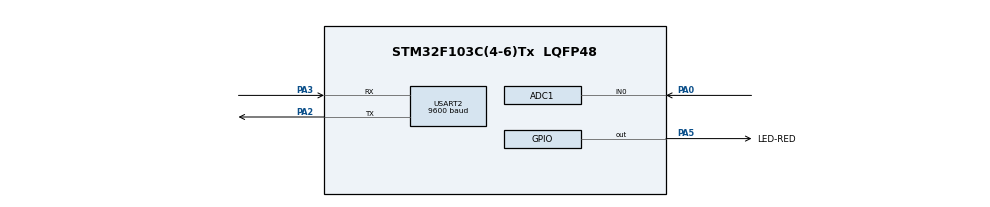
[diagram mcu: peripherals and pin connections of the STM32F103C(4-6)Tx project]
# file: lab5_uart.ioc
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ADC1.Channel-0\#ChannelRegularConversion=ADC_CHANNEL_0
ADC1.ContinuousConvMode=ENABLE
ADC1.NbrOfConversionFlag=1
ADC1.Rank-0\#ChannelRegularConversion=1
ADC1.SamplingTime-0\#ChannelRegularConversion=ADC_SAMPLETIME_1CYCLE_5
ADC1.master=1
Mcu.Family=STM32F1
Mcu.Name=STM32F103C(4-6)Tx
Mcu.Package=LQFP48
NVIC.PriorityGroup=NVIC_PRIORITYGROUP_4
NVIC.TIM2_IRQn=true\:0\:0\:false\:false\:true\:true\:true
NVIC.USART2_IRQn=true\:0\:0\:false\:false\:true\:true\:true
PA0-WKUP.Signal=ADCx_IN0
PA2.Mode=Asynchronous
PA2.Signal=USART2_TX
PA3.Mode=Asynchronous
PA3.Signal=USART2_RX
PA5.GPIO_Label=LED-RED
PA5.Signal=GPIO_Output
ProjectManager.HeapSize=0x200
ProjectManager.StackSize=0x400
ProjectManager.TargetToolchain=STM32CubeIDE
RCC.APB1Freq_Value=8000000
RCC.APB2Freq_Value=8000000
SH.ADCx_IN0.0=ADC1_IN0,IN0
TIM2.Period=9999
TIM2.Prescaler=7
USART2.BaudRate=9600
USART2.VirtualMode=VM_ASYNC
VP_SYS_VS_ND.Mode=No_Debug
VP_TIM2_VS_ClockSourceINT.Mode=Internal
board=custom

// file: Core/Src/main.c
/* USER CODE BEGIN Header */
/**
  ******************************************************************************
  * @file           : main.c
  * @brief          : Main program body
  ******************************************************************************
  * @attention
  *
  * <h2><center>&copy; Copyright (c) 2022 STMicroelectronics.
  * All rights reserved.</center></h2>
  *
  * This software component is licensed by ST under BSD 3-Clause license,
  * the "License"; You may not use this file except in compliance with the
  * License. You may obtain a copy of the License at:
  *                        opensource.org/licenses/BSD-3-Clause
  *
  ******************************************************************************
  */
/* USER CODE END Header */
#include "main.h"

/* USER CODE BEGIN Includes */
#include <stdio.h>
#include "command_parser_fsm.h"
#include "uart_communiation_fsm.h"
#include "global.h"
#include "software_timer.h"
/* USER CODE END Includes */

ADC_HandleTypeDef hadc1;

TIM_HandleTypeDef htim2;

UART_HandleTypeDef huart2;

void SystemClock_Config(void);
static void MX_GPIO_Init(void);
static void MX_USART2_UART_Init(void);
static void MX_ADC1_Init(void);
static void MX_TIM2_Init(void);

/* USER CODE BEGIN 0 */

void HAL_UART_RxCpltCallback(UART_HandleTypeDef * huart){
	if(huart -> Instance == USART2){
//		HAL_UART_Transmit(&huart2 , &temp, 1, 50);
		buffer[index_buffer++] = temp;
		if(index_buffer == MAX_BUFFER_SIZE) index_buffer = 0;
		buffer_flag = 1;
		HAL_UART_Receive_IT(&huart2 , &temp, 1);
	}
}
/* USER CODE END 0 */

int main(void)
{

  /* MCU Configuration--------------------------------------------------------*/

  /* Reset of all peripherals, Initializes the Flash interface and the Systick. */
  HAL_Init();

  /* Configure the system clock */
  SystemClock_Config();

  /* Initialize all configured peripherals */
  MX_GPIO_Init();
  MX_USART2_UART_Init();
  MX_ADC1_Init();
  MX_TIM2_Init();
  /* USER CODE BEGIN 2 */
  HAL_ADC_Start(&hadc1);
  HAL_TIM_Base_Start_IT(&htim2);
  /* USER CODE END 2 */

  /* Infinite loop */
  /* USER CODE BEGIN WHILE */
  HAL_UART_Receive_IT (&huart2, &temp, 1);
  uint8_t str[30];
  while (1)
  {
    /* USER CODE END WHILE */

    /* USER CODE BEGIN 3 */
//	  ADC_value = HAL_ADC_GetValue(&hadc1);

//	  HAL_GPIO_TogglePin(LED_RED_GPIO_Port, LED_RED_Pin);
//	  HAL_UART_Transmit(&huart2, str, sprintf(str, "%s","!1:T:29.5#"), 1000);
//	  HAL_UART_Transmit(&huart2, str, sprintf(str, "%d\n", ADC_value), 1000);

	  if(buffer_flag == 1){
		  command_parser_fsm();
		  buffer_flag = 0;
	  }
	  uart_communication_fsm();
  }
  /* USER CODE END 3 */
}

void SystemClock_Config(void)
{
  RCC_OscInitTypeDef RCC_OscInitStruct = {0};
  RCC_ClkInitTypeDef RCC_ClkInitStruct = {0};
  RCC_PeriphCLKInitTypeDef PeriphClkInit = {0};

  /** Initializes the RCC Oscillators according to the specified parameters
  * in the RCC_OscInitTypeDef structure.
  */
  RCC_OscInitStruct.OscillatorType = RCC_OSCILLATORTYPE_HSI;
  RCC_OscInitStruct.HSIState = RCC_HSI_ON;
  RCC_OscInitStruct.HSICalibrationValue = RCC_HSICALIBRATION_DEFAULT;
  RCC_OscInitStruct.PLL.PLLState = RCC_PLL_NONE;
  if (HAL_RCC_OscConfig(&RCC_OscInitStruct) != HAL_OK)
  {
    Error_Handler();
  }
  /** Initializes the CPU, AHB and APB buses clocks
  */
  RCC_ClkInitStruct.ClockType = RCC_CLOCKTYPE_HCLK|RCC_CLOCKTYPE_SYSCLK
                              |RCC_CLOCKTYPE_PCLK1|RCC_CLOCKTYPE_PCLK2;
  RCC_ClkInitStruct.SYSCLKSource = RCC_SYSCLKSOURCE_HSI;
  RCC_ClkInitStruct.AHBCLKDivider = RCC_SYSCLK_DIV1;
  RCC_ClkInitStruct.APB1CLKDivider = RCC_HCLK_DIV1;
  RCC_ClkInitStruct.APB2CLKDivider = RCC_HCLK_DIV1;

  if (HAL_RCC_ClockConfig(&RCC_ClkInitStruct, FLASH_LATENCY_0) != HAL_OK)
  {
    Error_Handler();
  }
  PeriphClkInit.PeriphClockSelection = RCC_PERIPHCLK_ADC;
  PeriphClkInit.AdcClockSelection = RCC_ADCPCLK2_DIV2;
  if (HAL_RCCEx_PeriphCLKConfig(&PeriphClkInit) != HAL_OK)
  {
    Error_Handler();
  }
}

static void MX_ADC1_Init(void)
{

  ADC_ChannelConfTypeDef sConfig = {0};

  /** Common config
  */
  hadc1.Instance = ADC1;
  hadc1.Init.ScanConvMode = ADC_SCAN_DISABLE;
  hadc1.Init.ContinuousConvMode = ENABLE;
  hadc1.Init.DiscontinuousConvMode = DISABLE;
  hadc1.Init.ExternalTrigConv = ADC_SOFTWARE_START;
  hadc1.Init.DataAlign = ADC_DATAALIGN_RIGHT;
  hadc1.Init.NbrOfConversion = 1;
  if (HAL_ADC_Init(&hadc1) != HAL_OK)
  {
    Error_Handler();
  }
  /** Configure Regular Channel
  */
  sConfig.Channel = ADC_CHANNEL_0;
  sConfig.Rank = ADC_REGULAR_RANK_1;
  sConfig.SamplingTime = ADC_SAMPLETIME_1CYCLE_5;
  if (HAL_ADC_ConfigChannel(&hadc1, &sConfig) != HAL_OK)
  {
    Error_Handler();
  }

}

static void MX_TIM2_Init(void)
{

  TIM_ClockConfigTypeDef sClockSourceConfig = {0};
  TIM_MasterConfigTypeDef sMasterConfig = {0};

  htim2.Instance = TIM2;
  htim2.Init.Prescaler = 7;
  htim2.Init.CounterMode = TIM_COUNTERMODE_UP;
  htim2.Init.Period = 9999;
  htim2.Init.ClockDivision = TIM_CLOCKDIVISION_DIV1;
  htim2.Init.AutoReloadPreload = TIM_AUTORELOAD_PRELOAD_DISABLE;
  if (HAL_TIM_Base_Init(&htim2) != HAL_OK)
  {
    Error_Handler();
  }
  sClockSourceConfig.ClockSource = TIM_CLOCKSOURCE_INTERNAL;
  if (HAL_TIM_ConfigClockSource(&htim2, &sClockSourceConfig) != HAL_OK)
  {
    Error_Handler();
  }
  sMasterConfig.MasterOutputTrigger = TIM_TRGO_RESET;
  sMasterConfig.MasterSlaveMode = TIM_MASTERSLAVEMODE_DISABLE;
  if (HAL_TIMEx_MasterConfigSynchronization(&htim2, &sMasterConfig) != HAL_OK)
  {
    Error_Handler();
  }

}

static void MX_USART2_UART_Init(void)
{

  huart2.Instance = USART2;
  huart2.Init.BaudRate = 9600;
  huart2.Init.WordLength = UART_WORDLENGTH_8B;
  huart2.Init.StopBits = UART_STOPBITS_1;
  huart2.Init.Parity = UART_PARITY_NONE;
  huart2.Init.Mode = UART_MODE_TX_RX;
  huart2.Init.HwFlowCtl = UART_HWCONTROL_NONE;
  huart2.Init.OverSampling = UART_OVERSAMPLING_16;
  if (HAL_UART_Init(&huart2) != HAL_OK)
  {
    Error_Handler();
  }

}

static void MX_GPIO_Init(void)
{
  GPIO_InitTypeDef GPIO_InitStruct = {0};

  /* GPIO Ports Clock Enable */
  __HAL_RCC_GPIOA_CLK_ENABLE();

  /*Configure GPIO pin Output Level */
  HAL_GPIO_WritePin(LED_RED_GPIO_Port, LED_RED_Pin, GPIO_PIN_RESET);

  /*Configure GPIO pin : LED_RED_Pin */
  GPIO_InitStruct.Pin = LED_RED_Pin;
  GPIO_InitStruct.Mode = GPIO_MODE_OUTPUT_PP;
  GPIO_InitStruct.Pull = GPIO_NOPULL;
  GPIO_InitStruct.Speed = GPIO_SPEED_FREQ_LOW;
  HAL_GPIO_Init(LED_RED_GPIO_Port, &GPIO_InitStruct);

}

/* USER CODE BEGIN 4 */
HAL_TIM_PeriodElapsedCallback(TIM_HandleTypeDef *htim)
{
	timerRun();
}
/* USER CODE END 4 */

void Error_Handler(void)
{
  __disable_irq();
  while (1)
  {
  }
}

/************************ (C) COPYRIGHT STMicroelectronics *****END OF FILE****/
